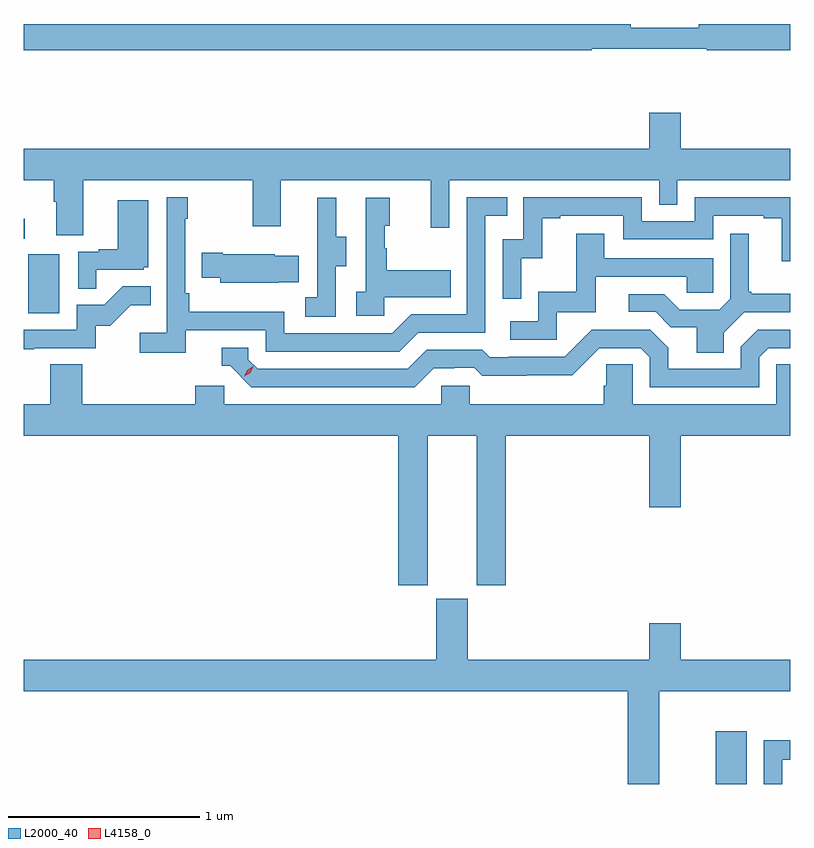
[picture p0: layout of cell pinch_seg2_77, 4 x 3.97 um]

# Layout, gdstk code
import gdstk
lib = gdstk.Library(unit=1e-6, precision=1e-09)
def R(c, l, rs):  # rectangles x0, y0, x1, y1
    for r in rs: c.add(gdstk.rectangle(r[:2], r[2:], *l))
def P(c, l, *ps):  # polygons
    for p in ps: c.add(gdstk.Polygon(p, *l))
L2000_40 = (2000, 40)
L4158_0 = (4158, 0)

pinch_seg2_77 = lib.new_cell('pinch_seg2_77')
R(pinch_seg2_77, L2000_40, [(1064.456,656.475,1064.617,656.749), (1060.868,658.932,1061.032,659.239), (1060.845,659.319,1060.852,659.425)])
P(pinch_seg2_77, L2000_40, [(1063.81,660.312),(1064.41,660.312),(1064.41,660.304),(1064.845,660.304),(1064.845,660.44),(1064.368,660.44),(1064.368,660.421),(1064.012,660.421),(1064.012,660.44),(1060.845,660.44),(1060.845,660.304),(1063.81,660.304)],
  [(1061.155,659.624),(1062.04,659.624),(1062.04,659.385),(1062.187,659.385),(1062.187,659.624),(1062.968,659.624),(1062.968,659.376),(1063.065,659.376),(1063.065,659.624),(1064.16,659.624),(1064.16,659.497),(1064.256,659.497),(1064.256,659.624),(1064.845,659.624),(1064.845,659.788),(1064.272,659.788),(1064.272,659.977),(1064.108,659.977),(1064.108,659.788),(1060.845,659.788),(1060.845,659.624),(1061.003,659.624),(1061.003,659.512),(1061.015,659.512),(1061.015,659.338),(1061.155,659.338)],
  [(1061.69,658.842),(1062.108,658.842),(1062.108,658.731),(1062.805,658.731),(1062.904,658.83),(1063.254,658.83),(1063.254,659.439),(1063.367,659.439),(1063.367,659.535),(1063.158,659.535),(1063.158,658.926),(1062.867,658.926),(1062.768,658.827),(1062.204,658.827),(1062.204,658.939),(1061.708,658.939),(1061.708,659.035),(1061.688,659.035),(1061.688,659.423),(1061.701,659.423),(1061.701,659.536),(1061.592,659.536),(1061.592,658.828),(1061.451,658.828),(1061.451,658.726),(1061.69,658.726)],
  [(1063.44,659.219),(1063.55,659.219),(1063.55,659.427),(1063.645,659.427),(1063.645,659.439),(1063.974,659.439),(1063.974,659.316),(1064.442,659.316),(1064.442,659.439),(1064.705,659.439),(1064.705,659.427),(1064.801,659.427),(1064.801,659.201),(1064.845,659.201),(1064.845,659.535),(1064.346,659.535),(1064.346,659.412),(1064.07,659.412),(1064.07,659.535),(1063.452,659.535),(1063.452,659.316),(1063.344,659.316),(1063.344,659.007),(1063.44,659.007)],
  [(1062.726,659.015),(1063.073,659.015),(1063.073,659.155),(1062.739,659.155),(1062.739,659.27),(1062.729,659.27),(1062.729,659.388),(1062.754,659.388),(1062.754,659.533),(1062.63,659.533),(1062.63,659.042),(1062.579,659.042),(1062.579,658.917),(1062.726,658.917)],
  [(1062.474,659.176),(1062.529,659.176),(1062.529,659.331),(1062.475,659.331),(1062.475,659.533),(1062.377,659.533),(1062.377,659.319),(1062.378,659.319),(1062.378,659.015),(1062.315,659.015),(1062.315,658.912),(1062.474,658.912)],
  [(1061.225,659.157),(1061.472,659.157),(1061.472,659.172),(1061.494,659.172),(1061.494,659.521),(1061.336,659.521),(1061.336,659.266),(1061.237,659.266),(1061.237,659.253),(1061.13,659.253),(1061.13,659.059),(1061.225,659.059)],
  [(1064.497,658.828),(1064.604,658.935),(1064.845,658.935),(1064.845,659.032),(1064.641,659.032),(1064.641,659.044),(1064.629,659.044),(1064.629,659.347),(1064.532,659.347),(1064.532,659.007),(1064.475,658.95),(1064.269,658.95),(1064.188,659.031),(1064.001,659.031),(1064.001,658.938),(1064.142,658.938),(1064.222,658.858),(1064.357,658.858),(1064.357,658.726),(1064.497,658.726)],
  [(1063.626,658.935),(1063.831,658.935),(1063.831,659.121),(1064.305,659.121),(1064.305,659.037),(1064.442,659.037),(1064.442,659.217),(1063.873,659.217),(1063.873,659.347),(1063.729,659.347),(1063.729,659.044),(1063.53,659.044),(1063.53,658.89),(1063.383,658.89),(1063.383,658.794),(1063.626,658.794)],
  [(1062.173,659.093),(1062.281,659.093),(1062.281,659.23),(1062.156,659.23),(1062.156,659.239),(1061.884,659.239),(1061.884,659.247),(1061.773,659.247),(1061.773,659.117),(1061.871,659.117),(1061.871,659.09),(1062.173,659.09)],
  [(1060.901,658.749),(1061.22,658.749),(1061.22,658.866),(1061.296,658.866),(1061.403,658.973),(1061.507,658.973),(1061.507,659.072),(1061.363,659.072),(1061.265,658.974),(1061.121,658.974),(1061.121,658.845),(1060.845,658.845),(1060.845,658.744),(1060.901,658.744)],
  [(1062.985,658.644),(1063.092,658.644),(1063.092,658.647),(1063.195,658.647),(1063.237,658.605),(1063.47,658.605),(1063.47,658.607),(1063.706,658.607),(1063.848,658.749),(1064.064,658.749),(1064.112,658.701),(1064.112,658.545),(1064.682,658.545),(1064.682,658.701),(1064.73,658.749),(1064.845,658.749),(1064.845,658.845),(1064.676,658.845),(1064.586,658.755),(1064.586,658.641),(1064.209,658.641),(1064.209,658.751),(1064.115,658.845),(1063.809,658.845),(1063.668,658.704),(1063.375,658.704),(1063.375,658.701),(1063.276,658.701),(1063.237,658.74),(1062.948,658.74),(1062.849,658.641),(1062.066,658.641),(1062.018,658.689),(1062.018,658.752),(1061.879,658.752),(1061.879,658.656),(1061.922,658.656),(1062.033,658.545),(1062.886,658.545)],
  [(1063.173,658.554),(1063.023,658.554),(1063.023,658.456),(1061.892,658.456),(1061.892,658.554),(1061.741,658.554),(1061.741,658.456),(1061.15,658.456),(1061.15,658.664),(1060.985,658.664),(1060.985,658.456),(1060.845,658.456),(1060.845,658.292),(1062.8,658.292),(1062.8,657.513),(1062.952,657.513),(1062.952,658.292),(1063.208,658.292),(1063.208,657.513),(1063.361,657.513),(1063.361,658.292),(1064.108,658.292),(1064.108,657.918),(1064.272,657.918),(1064.272,658.292),(1064.845,658.292),(1064.845,658.664),(1064.772,658.664),(1064.772,658.456),(1064.022,658.456),(1064.022,658.664),(1063.885,658.664),(1063.885,658.554),(1063.871,658.554),(1063.871,658.456),(1063.173,658.456)],
  [(1064.161,656.96),(1064.845,656.96),(1064.845,657.124),(1064.272,657.124),(1064.272,657.313),(1064.108,657.313),(1064.108,657.124),(1063.162,657.124),(1063.162,657.441),(1062.998,657.441),(1062.998,657.124),(1060.845,657.124),(1060.845,656.96),(1063.997,656.96),(1063.997,656.475),(1064.161,656.475)],
  [(1064.802,656.601),(1064.845,656.601),(1064.845,656.702),(1064.706,656.702),(1064.706,656.475),(1064.802,656.475)])
P(pinch_seg2_77, L4158_0, [(1061.997,658.601),(1061.997,658.601),(1062.012,658.634),(1062.043,658.654),(1062.043,658.654),(1062.043,658.654),(1062.027,658.621),(1061.997,658.601)])

lib.write_gds('pinch_seg2_77.gds')
